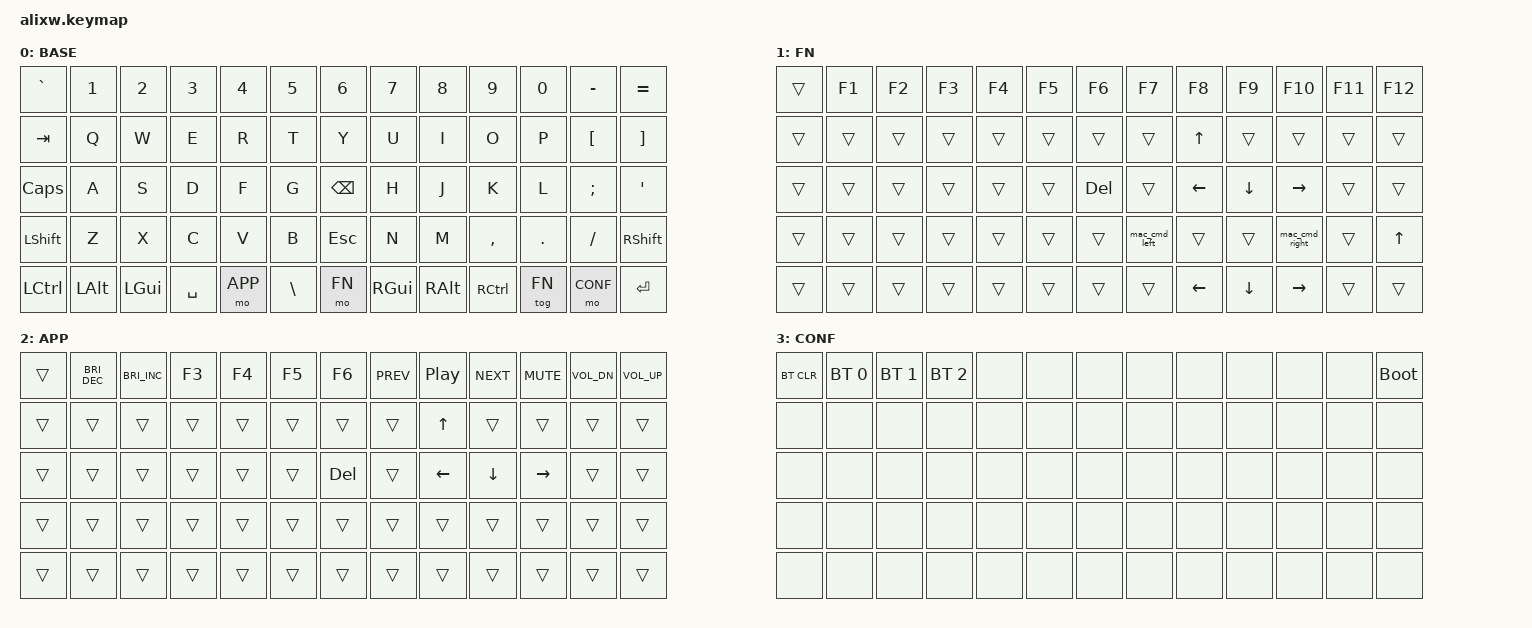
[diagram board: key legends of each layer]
#include <behaviors.dtsi>
#include <dt-bindings/zmk/keys.h>
#include <dt-bindings/zmk/bt.h>

#define BASE 0
#define FN 1
#define APP 2
#define CONF 3

/ {
    macros {
        mac_cmd_left: mac_cmd_left {
            label = "ZM_mac_cmd_left";
            compatible = "zmk,behavior-macro";
            #binding-cells = <0>;
            bindings
                = <&macro_press &kp LGUI>
                , <&macro_tap &kp LEFT>
                , <&macro_release &kp LGUI>
                ;
        };
        mac_cmd_right: mac_cmd_right {
            label = "ZM_mac_cmd_right";
            compatible = "zmk,behavior-macro";
            #binding-cells = <0>;
            bindings
                = <&macro_press &kp LGUI>
                , <&macro_tap &kp RIGHT>
                , <&macro_release &kp LGUI>
                ;
        };
        mac_cmd_up: mac_cmd_up {
            label = "ZM_mac_cmd_up";
            compatible = "zmk,behavior-macro";
            #binding-cells = <0>;
            bindings
                = <&macro_press &kp LGUI>
                , <&macro_tap &kp UP>
                , <&macro_release &kp LGUI>
                ;
        };
        mac_cmd_down: mac_cmd_down {
            label = "ZM_mac_cmd_down";
            compatible = "zmk,behavior-macro";
            #binding-cells = <0>;
            bindings
                = <&macro_press &kp LGUI>
                , <&macro_tap &kp DOWN>
                , <&macro_release &kp LGUI>
                ;
        };
    };

    keymap {
        compatible = "zmk,keymap";

        default_layer {
            label = "BASE";
            bindings = <
                &kp GRAVE  &kp N1    &kp N2    &kp N3     &kp N4   &kp N5    &kp N6    &kp N7    &kp N8    &kp N9     &kp N0   &kp MINUS  &kp EQUAL
                &kp TAB    &kp Q     &kp W     &kp E      &kp R    &kp T     &kp Y     &kp U     &kp I     &kp O      &kp P    &kp LBKT   &kp RBKT
                &kp CAPS   &kp A     &kp S     &kp D      &kp F    &kp G     &kp BSPC  &kp H     &kp J     &kp K      &kp L    &kp SEMI   &kp SQT
                &kp LSHFT  &kp Z     &kp X     &kp C      &kp V    &kp B     &kp ESC   &kp N     &kp M     &kp COMMA  &kp DOT  &kp SLASH  &kp RSHFT
                &kp LCTRL  &kp LALT  &kp LGUI  &kp SPACE  &mo APP  &kp BSLH  &mo FN    &kp RGUI  &kp RALT  &kp RCTRL  &tog FN  &mo CONF   &kp ENTER
            >;
        };

        fn_layer {
            label = "FN";
            bindings = <
                &trans     &kp F1    &kp F2    &kp F3     &kp F4  &kp F5     &kp F6    &kp F7         &kp F8         &kp F9       &kp F10         &kp F11  &kp F12
                &trans     &trans    &trans    &trans     &trans  &trans     &trans    &trans         &kp UP         &trans       &trans          &trans   &trans
                &trans     &trans    &trans    &trans     &trans  &trans     &kp DEL   &trans         &kp LEFT       &kp DOWN     &kp RIGHT       &trans   &trans
                &trans     &trans    &trans    &trans     &trans  &trans     &trans    &mac_cmd_left  &trans         &trans       &mac_cmd_right  &trans   &kp UP
                &trans     &trans    &trans    &trans     &trans  &trans     &trans    &trans         &kp LEFT       &kp DOWN     &kp RIGHT       &trans   &trans 
            >;
        };

        app_layer {
            label = "APP";
            bindings = <
                &trans  &kp C_BRI_DEC  &kp C_BRI_INC  &kp F3  &kp F4  &kp F5  &kp F6   &kp C_PREV  &kp C_PP  &kp C_NEXT  &kp K_MUTE  &kp C_VOL_DN  &kp C_VOL_UP
                &trans  &trans         &trans         &trans  &trans  &trans  &trans   &trans      &kp UP    &trans      &trans      &trans        &trans
                &trans  &trans         &trans         &trans  &trans  &trans  &kp DEL  &trans      &kp LEFT  &kp DOWN    &kp RIGHT   &trans        &trans
                &trans  &trans         &trans         &trans  &trans  &trans  &trans   &trans      &trans    &trans      &trans      &trans        &trans
                &trans  &trans         &trans         &trans  &trans  &trans  &trans   &trans      &trans    &trans      &trans      &trans        &trans 
            >;
        };

        conf_layer {
            label = "CONF";
            bindings = <
                &bt BT_CLR  &bt BT_SEL 0  &bt BT_SEL 1  &bt BT_SEL 2  &none  &none  &none  &none  &none  &none  &none  &none  &bootloader
                &none       &none         &none         &none         &none  &none  &none  &none  &none  &none  &none  &none  &none
                &none       &none         &none         &none         &none  &none  &none  &none  &none  &none  &none  &none  &none
                &none       &none         &none         &none         &none  &none  &none  &none  &none  &none  &none  &none  &none
                &none       &none         &none         &none         &none  &none  &none  &none  &none  &none  &none  &none  &none
            >;
        };
    };
};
